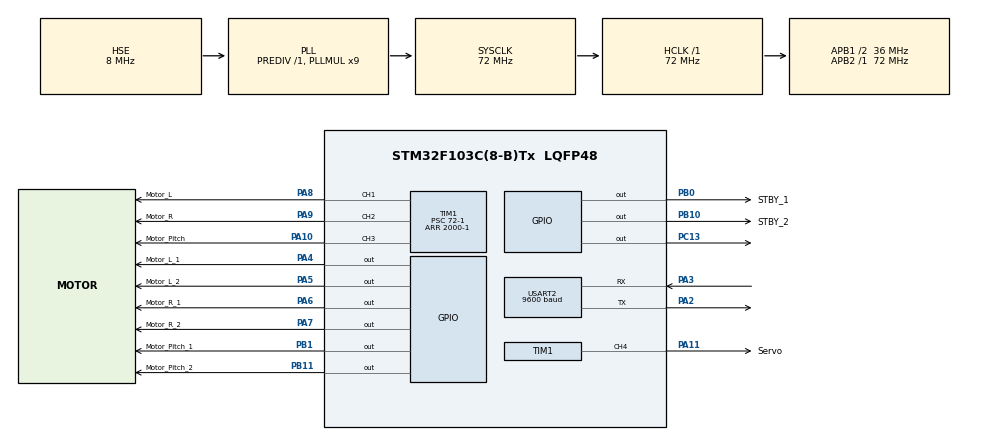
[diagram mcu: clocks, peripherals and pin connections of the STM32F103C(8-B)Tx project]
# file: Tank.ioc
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Mcu.Family=STM32F1
Mcu.Name=STM32F103C(8-B)Tx
Mcu.Package=LQFP48
NVIC.PriorityGroup=NVIC_PRIORITYGROUP_4
NVIC.USART2_IRQn=true\:0\:0\:false\:false\:true\:true\:true\:true
PA10.GPIO_Label=Motor_Pitch
PA10.Signal=S_TIM1_CH3
PA11.GPIO_Label=Servo
PA11.Signal=S_TIM1_CH4
PA13.Mode=Serial_Wire
PA13.Signal=SYS_JTMS-SWDIO
PA14.Mode=Serial_Wire
PA14.Signal=SYS_JTCK-SWCLK
PA2.Mode=Asynchronous
PA2.Signal=USART2_TX
PA3.Mode=Asynchronous
PA3.Signal=USART2_RX
PA4.GPIO_Label=Motor_L_1
PA4.Signal=GPIO_Output
PA5.GPIO_Label=Motor_L_2
PA5.Signal=GPIO_Output
PA6.GPIO_Label=Motor_R_1
PA6.Signal=GPIO_Output
PA7.GPIO_Label=Motor_R_2
PA7.Signal=GPIO_Output
PA8.GPIO_Label=Motor_L
PA8.Signal=S_TIM1_CH1
PA9.GPIO_Label=Motor_R
PA9.Signal=S_TIM1_CH2
PB0.GPIO_Label=STBY_1
PB0.PinState=GPIO_PIN_SET
PB0.Signal=GPIO_Output
PB1.GPIO_Label=Motor_Pitch_1
PB1.Signal=GPIO_Output
PB10.GPIO_Label=STBY_2
PB10.PinState=GPIO_PIN_SET
PB10.Signal=GPIO_Output
PB11.GPIO_Label=Motor_Pitch_2
PB11.Signal=GPIO_Output
PC13-TAMPER-RTC.PinState=GPIO_PIN_RESET
PC13-TAMPER-RTC.Signal=GPIO_Output
PD0-OSC_IN.Mode=HSE-External-Oscillator
PD0-OSC_IN.Signal=RCC_OSC_IN
PD1-OSC_OUT.Mode=HSE-External-Oscillator
PD1-OSC_OUT.Signal=RCC_OSC_OUT
ProjectManager.HeapSize=0x200
ProjectManager.StackSize=0x400
ProjectManager.TargetToolchain=MDK-ARM V5.32
RCC.AHBFreq_Value=72000000
RCC.APB1CLKDivider=RCC_HCLK_DIV2
RCC.APB1Freq_Value=36000000
RCC.APB1TimFreq_Value=72000000
RCC.APB2Freq_Value=72000000
RCC.APB2TimFreq_Value=72000000
RCC.HCLKFreq_Value=72000000
RCC.PLLMUL=RCC_PLL_MUL9
RCC.PLLSourceVirtual=RCC_PLLSOURCE_HSE
RCC.SYSCLKFreq_VALUE=72000000
RCC.SYSCLKSource=RCC_SYSCLKSOURCE_PLLCLK
RCC.USBFreq_Value=72000000
SH.S_TIM1_CH1.0=TIM1_CH1,PWM Generation1 CH1
SH.S_TIM1_CH2.0=TIM1_CH2,PWM Generation2 CH2
SH.S_TIM1_CH3.0=TIM1_CH3,PWM Generation3 CH3
SH.S_TIM1_CH4.0=TIM1_CH4,PWM Generation4 CH4
TIM1.Channel-PWM\ Generation1\ CH1=TIM_CHANNEL_1
TIM1.Channel-PWM\ Generation2\ CH2=TIM_CHANNEL_2
TIM1.Channel-PWM\ Generation3\ CH3=TIM_CHANNEL_3
TIM1.Channel-PWM\ Generation4\ CH4=TIM_CHANNEL_4
TIM1.Period=2000-1
TIM1.Prescaler=72-1
USART2.BaudRate=9600
USART2.VirtualMode=VM_ASYNC
board=custom

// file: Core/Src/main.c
/* USER CODE BEGIN Header */
/**
  ******************************************************************************
  * @file           : main.c
  * @brief          : Main program body
  ******************************************************************************
  * @attention
  *
  * Copyright (c) 2025 STMicroelectronics.
  * All rights reserved.
  *
  * This software is licensed under terms that can be found in the LICENSE file
  * in the root directory of this software component.
  * If no LICENSE file comes with this software, it is provided AS-IS.
  *
  ******************************************************************************
  */
/* USER CODE END Header */
#include "main.h"
#include "tim.h"
#include "usart.h"
#include "gpio.h"

/* USER CODE BEGIN Includes */
#include "Remote_Control.h"
#include "Motor_Move.h"
#include "Turret_Move.h"
/* USER CODE END Includes */

void SystemClock_Config(void);

int main(void)
{

  /* MCU Configuration--------------------------------------------------------*/

  /* Reset of all peripherals, Initializes the Flash interface and the Systick. */
  HAL_Init();

  /* Configure the system clock */
  SystemClock_Config();

  /* Initialize all configured peripherals */
  MX_GPIO_Init();
  MX_TIM1_Init();
  MX_USART2_UART_Init();
  /* USER CODE BEGIN 2 */
  Motor_Move_Init();
  Turret_Init();

  HAL_UART_Receive_IT(&huart2, &usart2_rx_byte, 1);
  /* USER CODE END 2 */

  /* Infinite loop */
  /* USER CODE BEGIN WHILE */
  while (1)
  {
    // Motor_Left_SetSpeed(50);
    // HAL_Delay(10);
    // Motor_Right_SetSpeed(50);
    // HAL_Delay(2000);
    // Motor_Left_SetSpeed(-50);
    // HAL_Delay(10);
    // Motor_Right_SetSpeed(-50);
    // HAL_Delay(2000);

    Tank_Move_Control();
    Turret_Control();
    Lost_Control_Check();

    HAL_Delay(10);
    /* USER CODE END WHILE */

  }
}

void SystemClock_Config(void)
{
  RCC_OscInitTypeDef RCC_OscInitStruct = {0};
  RCC_ClkInitTypeDef RCC_ClkInitStruct = {0};

  /** Initializes the RCC Oscillators according to the specified parameters
  * in the RCC_OscInitTypeDef structure.
  */
  RCC_OscInitStruct.OscillatorType = RCC_OSCILLATORTYPE_HSE;
  RCC_OscInitStruct.HSEState = RCC_HSE_ON;
  RCC_OscInitStruct.HSEPredivValue = RCC_HSE_PREDIV_DIV1;
  RCC_OscInitStruct.HSIState = RCC_HSI_ON;
  RCC_OscInitStruct.PLL.PLLState = RCC_PLL_ON;
  RCC_OscInitStruct.PLL.PLLSource = RCC_PLLSOURCE_HSE;
  RCC_OscInitStruct.PLL.PLLMUL = RCC_PLL_MUL9;
  if (HAL_RCC_OscConfig(&RCC_OscInitStruct) != HAL_OK)
  {
    Error_Handler();
  }

  /** Initializes the CPU, AHB and APB buses clocks
  */
  RCC_ClkInitStruct.ClockType = RCC_CLOCKTYPE_HCLK|RCC_CLOCKTYPE_SYSCLK
                              |RCC_CLOCKTYPE_PCLK1|RCC_CLOCKTYPE_PCLK2;
  RCC_ClkInitStruct.SYSCLKSource = RCC_SYSCLKSOURCE_PLLCLK;
  RCC_ClkInitStruct.AHBCLKDivider = RCC_SYSCLK_DIV1;
  RCC_ClkInitStruct.APB1CLKDivider = RCC_HCLK_DIV2;
  RCC_ClkInitStruct.APB2CLKDivider = RCC_HCLK_DIV1;

  if (HAL_RCC_ClockConfig(&RCC_ClkInitStruct, FLASH_LATENCY_2) != HAL_OK)
  {
    Error_Handler();
  }
}

/* USER CODE BEGIN 4 */
void HAL_UART_RxCpltCallback(UART_HandleTypeDef *huart)
{
    if (huart->Instance == USART2)
    {
        /* 收到帧头，开始新包 */
        if (usart2_rx_byte == '[')
        {
            usart2_rx_len = 0;
            usart2_rx_buf[usart2_rx_len++] = usart2_rx_byte;
        }
        /* 正在接收一帧 */
        else if (usart2_rx_len > 0)
        {
            if (usart2_rx_len < RX_BUF_LEN - 1)
            {
                usart2_rx_buf[usart2_rx_len++] = usart2_rx_byte;
            }
            else
            {
                /* 缓冲区溢出，丢弃 */
                usart2_rx_len = 0;
            }

            /* 帧结束符：']' */
            if (usart2_rx_byte == ']')
            {
                /* 结束字符串 */
                usart2_rx_buf[usart2_rx_len] = '\0';

                /* 🔥 调用解析函数 */
                Parse_Joystick_Packet((char *)usart2_rx_buf);

                /* 刷新掉控时间 */
                last_rx_tick = HAL_GetTick();

                /* 准备下一帧 */
                usart2_rx_len = 0;
            }
        }

        /* 重新开启中断 */
        HAL_UART_Receive_IT(&huart2, &usart2_rx_byte, 1);
    }
}

/* USER CODE END 4 */

void Error_Handler(void)
{
  __disable_irq();
  while (1)
  {
  }
}
